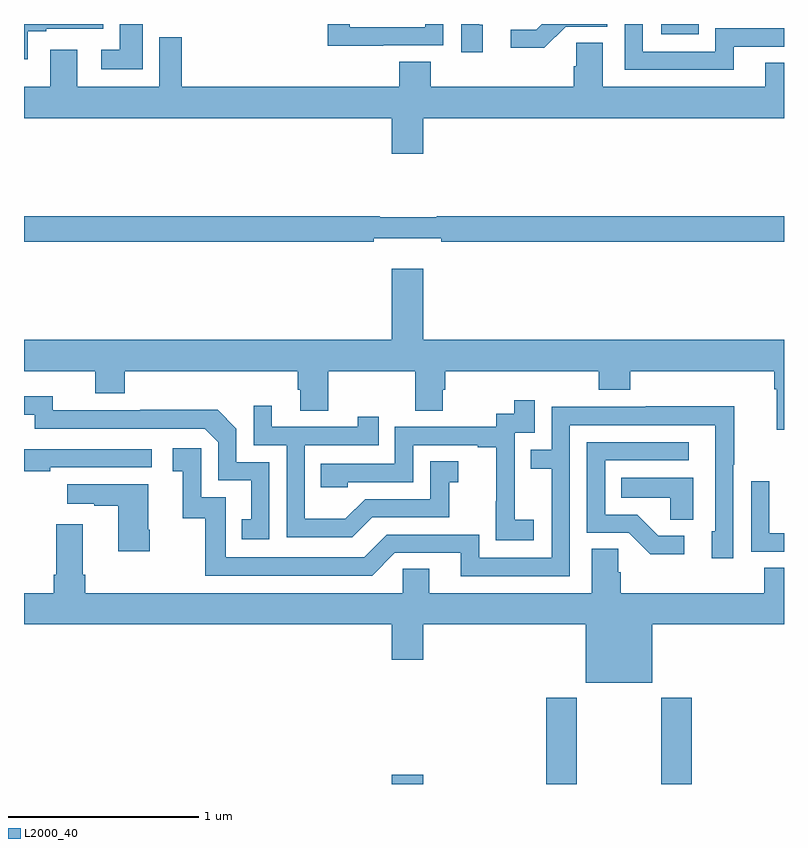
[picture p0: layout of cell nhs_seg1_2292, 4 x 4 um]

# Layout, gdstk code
import gdstk
lib = gdstk.Library(unit=1e-6, precision=1e-09)
def R(c, l, rs):  # rectangles x0, y0, x1, y1
    for r in rs: c.add(gdstk.rectangle(r[:2], r[2:], *l))
def P(c, l, *ps):  # polygons
    for p in ps: c.add(gdstk.Polygon(p, *l))
L2000_40 = (2000, 40)

nhs_seg1_2292 = lib.new_cell('nhs_seg1_2292')
R(nhs_seg1_2292, L2000_40, [(236.936,576.199,237.1,576.247), (237.749,576.199,237.909,576.652), (238.354,576.199,238.514,576.652), (238.353,580.145,238.551,580.199)])
P(nhs_seg1_2292, L2000_40, [(238.735,580.08),(239,580.08),(239,580.176),(238.638,580.176),(238.638,580.053),(238.257,580.053),(238.257,580.199),(238.161,580.199),(238.161,579.957),(238.735,579.957)],
  [(237.415,580.194),(237.396,580.194),(237.396,580.199),(237.3,580.199),(237.3,580.05),(237.415,580.05)],
  [(235.624,580.199),(235.505,580.199),(235.505,580.063),(235.407,580.063),(235.407,579.962),(235.624,579.962)],
  [(236.891,580.086),(237.207,580.086),(237.207,580.199),(237.111,580.199),(237.111,580.182),(236.715,580.182),(236.715,580.199),(236.599,580.199),(236.599,580.085),(236.891,580.085)],
  [(237.852,580.185),(238.071,580.185),(238.071,580.199),(237.724,580.199),(237.695,580.17),(237.561,580.17),(237.561,580.073),(237.739,580.073)],
  [(235.021,580.161),(235.117,580.161),(235.117,580.173),(235.417,580.173),(235.417,580.199),(235,580.199),(235,580.014),(235.021,580.014)],
  [(237.1,579.704),(239,579.704),(239,579.995),(238.901,579.995),(238.901,579.868),(238.045,579.868),(238.045,580.1),(237.906,580.1),(237.906,579.977),(237.893,579.977),(237.893,579.868),(237.14,579.868),(237.14,580.001),(236.975,580.001),(236.975,579.868),(235.829,579.868),(235.829,580.129),(235.713,580.129),(235.713,579.868),(235.279,579.868),(235.279,580.063),(235.139,580.063),(235.139,579.868),(235,579.868),(235,579.704),(236.936,579.704),(236.936,579.516),(237.1,579.516)],
  [(236.84,579.071),(237.196,579.071),(237.196,579.052),(239,579.052),(239,579.188),(237.172,579.188),(237.172,579.181),(236.872,579.181),(236.872,579.188),(235,579.188),(235,579.052),(236.84,579.052)],
  [(239,578.536),(237.1,578.536),(237.1,578.911),(236.936,578.911),(236.936,578.536),(235,578.536),(235,578.372),(235.376,578.372),(235.376,578.255),(235.529,578.255),(235.529,578.372),(236.441,578.372),(236.441,578.274),(236.453,578.274),(236.453,578.164),(236.601,578.164),(236.601,578.372),(237.058,578.372),(237.058,578.164),(237.205,578.164),(237.205,578.274),(237.218,578.274),(237.218,578.372),(238.025,578.372),(238.025,578.273),(238.19,578.273),(238.19,578.372),(238.949,578.372),(238.949,578.276),(238.961,578.276),(238.961,578.063),(239,578.063)],
  [(236.292,577.893),(236.118,577.893),(236.118,578.07),(236.02,578.168),(235.612,578.168),(235.612,578.166),(235.152,578.166),(235.152,578.239),(235,578.239),(235,578.142),(235.056,578.142),(235.056,578.07),(235.95,578.07),(236.022,577.998),(236.022,577.797),(236.195,577.797),(236.195,577.593),(236.146,577.593),(236.146,577.488),(236.292,577.488)],
  [(237.682,577.591),(237.584,577.591),(237.584,577.82),(237.582,577.82),(237.582,578.049),(237.687,578.049),(237.687,578.218),(237.579,578.218),(237.579,578.148),(237.486,578.148),(237.486,578.079),(236.952,578.079),(236.952,577.884),(236.563,577.884),(236.563,577.761),(236.703,577.761),(236.703,577.788),(237.048,577.788),(237.048,577.983),(237.389,577.983),(237.389,577.971),(237.485,577.971),(237.485,577.687),(237.484,577.687),(237.484,577.481),(237.682,577.481)],
  [(236.833,577.602),(237.237,577.602),(237.237,577.787),(237.286,577.787),(237.286,577.897),(237.138,577.897),(237.138,577.698),(236.796,577.698),(236.692,577.594),(236.478,577.594),(236.478,577.983),(236.867,577.983),(236.867,578.131),(236.756,578.131),(236.756,578.079),(236.305,578.079),(236.305,578.191),(236.208,578.191),(236.208,577.983),(236.382,577.983),(236.382,577.497),(236.728,577.497)],
  [(237.873,578.088),(238.638,578.088),(238.638,577.53),(238.619,577.53),(238.619,577.386),(238.734,577.386),(238.734,577.879),(238.737,577.879),(238.737,578.186),(238.273,578.186),(238.273,578.184),(237.777,578.184),(237.777,577.959),(237.667,577.959),(237.667,577.858),(237.777,577.858),(237.777,577.389),(237.396,577.389),(237.396,577.512),(236.91,577.512),(236.79,577.392),(236.061,577.392),(236.061,577.707),(235.932,577.707),(235.932,577.966),(235.782,577.966),(235.782,577.845),(235.835,577.845),(235.835,577.599),(235.953,577.599),(235.953,577.296),(236.832,577.296),(236.952,577.416),(237.299,577.416),(237.299,577.293),(237.873,577.293)],
  [(238.474,577.506),(238.339,577.506),(238.228,577.617),(238.059,577.617),(238.059,577.902),(238.498,577.902),(238.498,577.998),(237.963,577.998),(237.963,577.521),(238.182,577.521),(238.295,577.409),(238.474,577.409)],
  [(235.139,577.866),(235.672,577.866),(235.672,577.962),(235,577.962),(235,577.846),(235.139,577.846)],
  [(238.522,577.81),(238.144,577.81),(238.144,577.706),(238.401,577.706),(238.401,577.591),(238.522,577.591)],
  [(239,577.518),(238.923,577.518),(238.923,577.792),(238.827,577.792),(238.827,577.422),(239,577.422)],
  [(235.662,577.537),(235.654,577.537),(235.654,577.777),(235.227,577.777),(235.227,577.673),(235.37,577.673),(235.37,577.663),(235.496,577.663),(235.496,577.425),(235.662,577.425)],
  [(238.306,577.04),(239,577.04),(239,577.337),(238.895,577.337),(238.895,577.204),(238.142,577.204),(238.142,577.313),(238.128,577.313),(238.128,577.436),(237.989,577.436),(237.989,577.204),(237.133,577.204),(237.133,577.331),(236.994,577.331),(236.994,577.204),(235.322,577.204),(235.322,577.3),(235.309,577.3),(235.309,577.567),(235.169,577.567),(235.169,577.3),(235.157,577.3),(235.157,577.204),(235,577.204),(235,577.04),(236.936,577.04),(236.936,576.852),(237.1,576.852),(237.1,577.04),(237.956,577.04),(237.956,576.731),(238.306,576.731)])

lib.write_gds('nhs_seg1_2292.gds')
